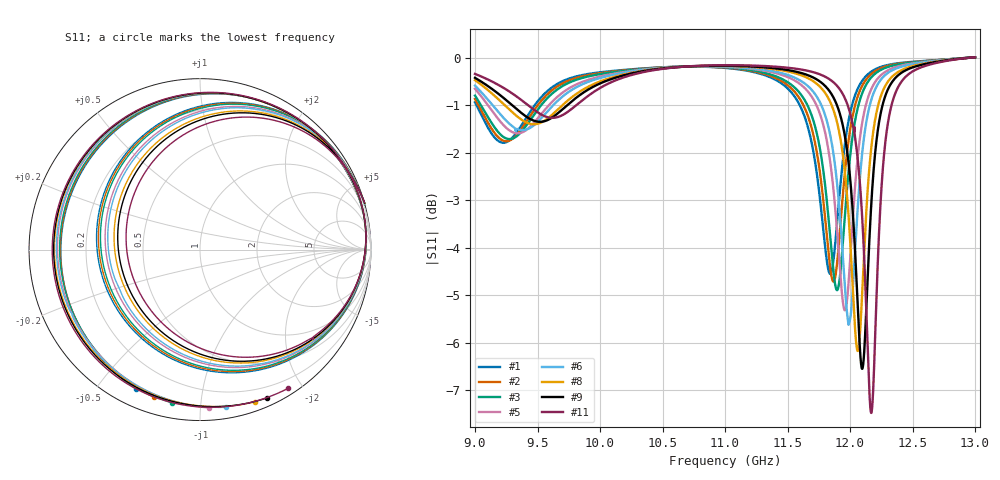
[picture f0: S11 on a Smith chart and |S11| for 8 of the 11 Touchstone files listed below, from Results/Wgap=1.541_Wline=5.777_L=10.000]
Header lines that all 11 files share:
! TOUCHSTONE file generated by CST DESIGN STUDIO
! Project name: C:\Work\MatlabApps\UnitCellOptimizationMatlab\CST\unitcell.cst
! Tree item: Tasks\Sweep1\SPara1\S-Parameters
! Header version: 2024
! Port assignment regex: !\s*Touchstone port\s*([0-9]+)\s*=\s*(CST MWS port|CST DES external port|CST DES block port)\s*(.+)\s* \(\"(.*)\"\)(\s*mode\s*([0-9]+))?.*
! Touchstone port assignment:
! Touchstone port 1 = CST DES external port 1 ("")
# GHz S MA R 50
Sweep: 9 GHz to 13 GHz
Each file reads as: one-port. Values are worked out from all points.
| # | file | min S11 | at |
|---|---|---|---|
| 1 | DS_for_MWS-run-0001.s1p | -4.5 dB | 11.84 GHz |
| 2 | DS_for_MWS-run-0002.s1p | -4.7 dB | 11.87 GHz |
| 3 | DS_for_MWS-run-0003.s1p | -4.9 dB | 11.9 GHz |
| 4 | DS_for_MWS-run-0004.s1p | -5.1 dB | 11.93 GHz |
| 5 | DS_for_MWS-run-0005.s1p | -5.3 dB | 11.96 GHz |
| 6 | DS_for_MWS-run-0006.s1p | -5.6 dB | 11.99 GHz |
| 7 | DS_for_MWS-run-0007.s1p | -5.8 dB | 12.03 GHz |
| 8 | DS_for_MWS-run-0008.s1p | -6.2 dB | 12.06 GHz |
| 9 | DS_for_MWS-run-0009.s1p | -6.5 dB | 12.1 GHz |
| 10 | DS_for_MWS-run-0010.s1p | -7.0 dB | 12.13 GHz |
| 11 | DS_for_MWS-run-0011.s1p | -7.5 dB | 12.17 GHz |
